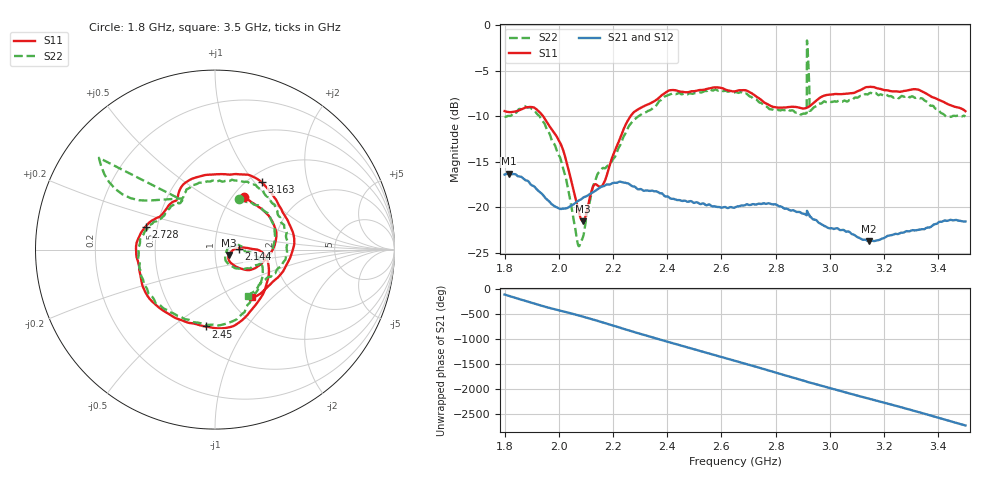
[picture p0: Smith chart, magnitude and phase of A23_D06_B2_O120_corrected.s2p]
! Created with skrf 1.9.0 (http://scikit-rf.org).
# Hz S RI R 50.0
!freq ReS11 ImS11 ReS21 ImS21 ReS12 ImS12 ReS22 ImS22
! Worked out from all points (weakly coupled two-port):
!   1601 points, 1.8 GHz to 3.5 GHz, reference 50 ohm
!   highest |S21| = -16.31 dB at 1.815 GHz (marker M1); lowest = -23.7 dB at 3.144 GHz (marker M2)
!   lowest |S11| = -21.5 dB at 2.09 GHz (marker M3), VSWR 1.18, Z = 58.4 - j3.49 ohm
!   |S11| at or under -10 dB: 1.942 GHz to 2.264 GHz (321.9 MHz wide, 15.3 % of centre)
!   |S22| runs from -24.3 to -1.7 dB; largest |S21 - S12| = 0.0025
!   S11 on the Smith chart (normalised r, x): 1.8 GHz: 1.13, +0.75; 2.144 GHz: 1.30, +0.01; 2.45 GHz: 0.63, -0.67; 2.728 GHz: 0.43, +0.13; 3.163 GHz: 1.15, +1.09; 3.5 GHz: 1.27, -0.76
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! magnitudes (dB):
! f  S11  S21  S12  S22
! 1.8 GHz  -9.4  -16.4  -16.4  -10.0
! 1.815 GHz  -9.5  -16.3  -16.3  -10.0
! 1.881 GHz  -9.0  -17.1  -17.1  -9.0
! 1.943 GHz  -10.0  -18.7  -18.7  -10.6
! 2.013 GHz  -13.4  -20.1  -20.1  -15.4
! 2.068 GHz  -19.8  -19.4  -19.4  -23.7
! 2.084 GHz  -21.4  -19.1  -19.0  -23.6
! 2.09 GHz  -21.5  -18.9  -19.0  -23.2
! 2.144 GHz  -17.6  -18.0  -18.0  -16.3
! 2.264 GHz  -10.0  -17.5  -17.5  -10.9
! 2.367 GHz  -8.0  -18.3  -18.3  -8.4
! 2.45 GHz  -7.3  -19.2  -19.2  -7.6
! 2.65 GHz  -7.3  -20.0  -20.0  -7.4
! 2.728 GHz  -7.8  -19.7  -19.7  -8.2
! 2.906 GHz  -9.1  -20.7  -20.7  -9.7
! 2.915 GHz  -9.1  -20.9  -20.9  -9.6
! 2.924 GHz  -8.9  -20.8  -20.8  -6.7
! 2.934 GHz  -8.7  -21.2  -21.2  -9.2
! 3.144 GHz  -6.8  -23.7  -23.6  -7.5
! 3.163 GHz  -6.8  -23.7  -23.6  -7.5
! 3.217 GHz  -7.2  -23.1  -23.1  -7.8
! 3.5 GHz  -9.4  -21.5  -21.5  -10.0
